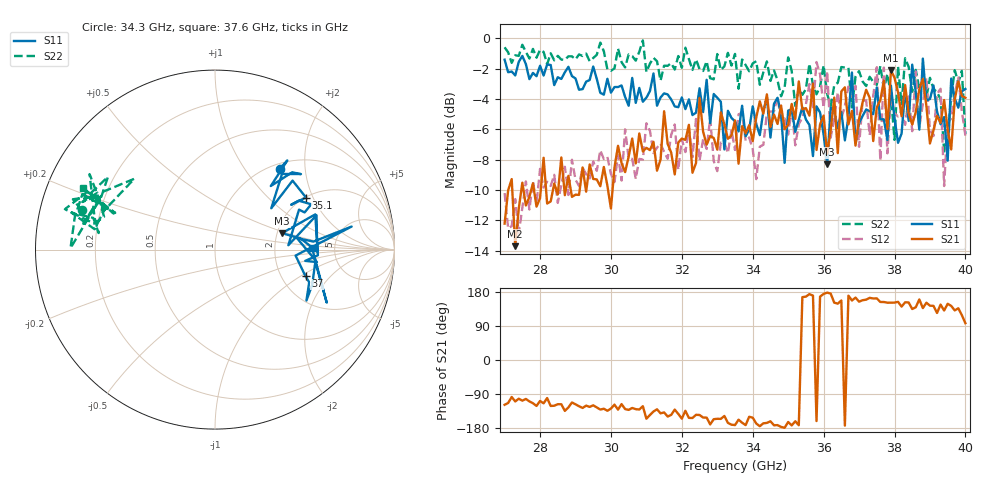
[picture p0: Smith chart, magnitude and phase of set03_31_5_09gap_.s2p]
! Quiescent point : V1=-4.23619E-03 I1=+4.28961E-04 V2=-1.48022E-02 I2=-5.27500E-03
! Pulsed point : V1=-3.73166E-03 I1=+4.26600E-04 V2=-1.48280E-02 I2=-5.33556E-03
! Period : +2.00000E-04
! Input Supply timing : delay=+1.60000E-06 width=+2.20000E-06
! Output Supply timing : delay=+1.70000E-06 width=+2.00000E-06
! VNA timing : delay=+2.40000E-06 width=+1.10000E-06
# Hz S RI R 50
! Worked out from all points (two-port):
!   131 points, 27 GHz to 40 GHz, reference 50 ohm
!   highest |S21| = -2.10 dB at 37.9 GHz (marker M1); lowest = -13.7 dB at 27.3 GHz (marker M2)
!   |S21| within 3 dB of the highest: 35.21 GHz to 35.75 GHz (540.3 MHz wide, 1.52 % of centre); 38.57 GHz to 38.93 GHz (356.9 MHz wide, 0.921 % of centre)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
!   lowest |S11| = -8.3 dB at 36.1 GHz (marker M3), VSWR 2.25, Z = 106 + j22.9 ohm
!   |S11| at or under -10 dB: nowhere
!   |S22| runs from -7.5 to -0.1 dB; largest |S21 - S12| = 0.47
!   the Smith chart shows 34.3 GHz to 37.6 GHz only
!   S11 on the Smith chart (normalised r, x): 34.3 GHz: 1.09, +1.47; 35.1 GHz: 2.01, +1.77; 37 GHz: 2.70, -1.11; 37.6 GHz: 3.36, +0.06
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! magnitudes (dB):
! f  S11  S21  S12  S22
! 27 GHz  -1.4  -12.2  -10.2  -0.6
! 27.3 GHz  -2.4  -13.7  -10.6  -1.1
! 29.2 GHz  -3.3  -8.5  -8.5  -1.2
! 31.4 GHz  -3.9  -8.0  -6.9  -2.8
! 33.5 GHz  -5.5  -5.4  -7.4  -1.0
! 34.3 GHz  -4.8  -5.0  -7.0  -2.2
! 35.1 GHz  -4.7  -4.3  -4.6  -2.1
! 35.7 GHz  -7.8  -3.0  -4.5  -3.1
! 36.1 GHz  -8.3  -7.6  -2.2  -3.7
! 37 GHz  -5.6  -5.3  -7.1  -2.2
! 37.5 GHz  -3.2  -4.5  -1.9  -3.1
! 37.6 GHz  -5.3  -4.1  -8.1  -1.8
! 37.7 GHz  -5.3  -2.8  -1.9  -3.3
! 37.8 GHz  -6.7  -6.0  -7.6  -2.3
! 37.9 GHz  -3.1  -2.1  -3.8  -3.8
! 38.7 GHz  -6.0  -3.3  -5.9  -3.3
! 38.8 GHz  -1.3  -2.7  -4.3  -2.8
! 39.3 GHz  -5.7  -5.6  -3.3  -4.0
! 39.4 GHz  -5.2  -4.1  -9.7  -7.5
! 39.5 GHz  -8.1  -6.0  -5.6  -6.4
! 39.6 GHz  -2.6  -7.3  -5.3  -3.8
! 40 GHz  -3.3  -3.9  -6.4  -6.3
